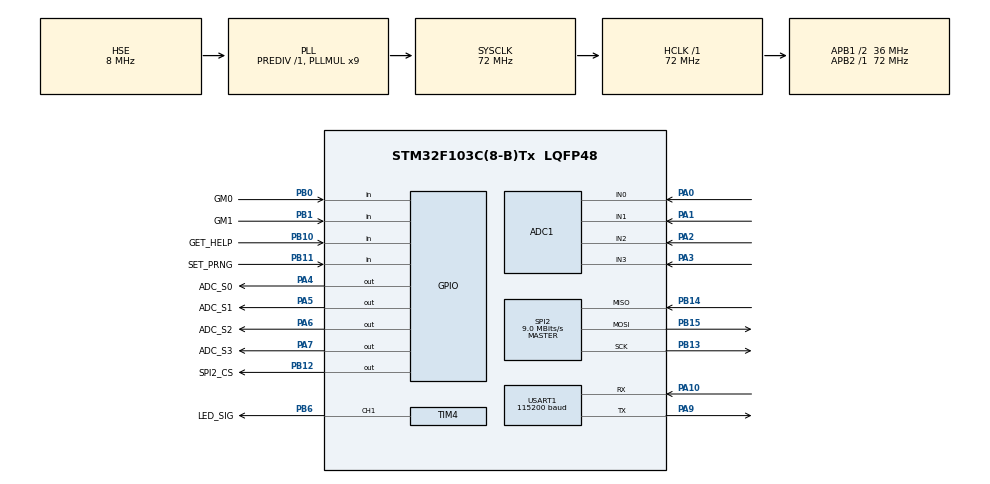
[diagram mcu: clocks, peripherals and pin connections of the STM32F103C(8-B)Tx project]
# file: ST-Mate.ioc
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ADC1.Channel-0\#ChannelRegularConversion=ADC_CHANNEL_0
ADC1.Channel-1\#ChannelRegularConversion=ADC_CHANNEL_1
ADC1.Channel-2\#ChannelRegularConversion=ADC_CHANNEL_2
ADC1.Channel-3\#ChannelRegularConversion=ADC_CHANNEL_3
ADC1.Channel-4\#ChannelRegularConversion=ADC_CHANNEL_VREFINT
ADC1.ContinuousConvMode=DISABLE
ADC1.NbrOfConversion=5
ADC1.NbrOfConversionFlag=1
ADC1.Rank-0\#ChannelRegularConversion=1
ADC1.Rank-1\#ChannelRegularConversion=2
ADC1.Rank-2\#ChannelRegularConversion=3
ADC1.Rank-3\#ChannelRegularConversion=4
ADC1.Rank-4\#ChannelRegularConversion=5
ADC1.SamplingTime-0\#ChannelRegularConversion=ADC_SAMPLETIME_239CYCLES_5
ADC1.SamplingTime-1\#ChannelRegularConversion=ADC_SAMPLETIME_239CYCLES_5
ADC1.SamplingTime-2\#ChannelRegularConversion=ADC_SAMPLETIME_239CYCLES_5
ADC1.SamplingTime-3\#ChannelRegularConversion=ADC_SAMPLETIME_239CYCLES_5
ADC1.SamplingTime-4\#ChannelRegularConversion=ADC_SAMPLETIME_239CYCLES_5
ADC1.master=1
Dma.ADC1.0.Direction=DMA_PERIPH_TO_MEMORY
Dma.ADC1.0.Instance=DMA1_Channel1
Dma.ADC1.0.MemDataAlignment=DMA_MDATAALIGN_HALFWORD
Dma.ADC1.0.MemInc=DMA_MINC_ENABLE
Dma.ADC1.0.Mode=DMA_NORMAL
Dma.ADC1.0.PeriphDataAlignment=DMA_PDATAALIGN_HALFWORD
Dma.ADC1.0.PeriphInc=DMA_PINC_DISABLE
Dma.ADC1.0.Priority=DMA_PRIORITY_LOW
Dma.Request0=ADC1
Mcu.Family=STM32F1
Mcu.Name=STM32F103C(8-B)Tx
Mcu.Package=LQFP48
NVIC.ADC1_2_IRQn=true\:15\:0\:true\:false\:true\:true\:true\:true
NVIC.DMA1_Channel1_IRQn=true\:0\:0\:false\:false\:true\:false\:true\:true
NVIC.PriorityGroup=NVIC_PRIORITYGROUP_4
NVIC.TIM4_IRQn=true\:0\:0\:false\:false\:true\:true\:true\:true
NVIC.USART1_IRQn=true\:0\:0\:false\:false\:true\:true\:true\:true
PA0-WKUP.Signal=ADCx_IN0
PA1.Signal=ADCx_IN1
PA10.Mode=Asynchronous
PA10.Signal=USART1_RX
PA13.Mode=Trace_Asynchronous_SW
PA13.Signal=SYS_JTMS-SWDIO
PA14.Mode=Trace_Asynchronous_SW
PA14.Signal=SYS_JTCK-SWCLK
PA2.Signal=ADCx_IN2
PA3.Signal=ADCx_IN3
PA4.GPIO_Label=ADC_S0
PA4.Signal=GPIO_Output
PA5.GPIO_Label=ADC_S1
PA5.Signal=GPIO_Output
PA6.GPIO_Label=ADC_S2
PA6.Signal=GPIO_Output
PA7.GPIO_Label=ADC_S3
PA7.Signal=GPIO_Output
PA9.Mode=Asynchronous
PA9.Signal=USART1_TX
PB0.GPIO_Label=GM0
PB0.GPIO_PuPd=GPIO_PULLUP
PB0.Signal=GPIO_Input
PB1.GPIO_Label=GM1
PB1.GPIO_PuPd=GPIO_PULLUP
PB1.Signal=GPIO_Input
PB10.GPIO_Label=GET_HELP
PB10.GPIO_PuPd=GPIO_PULLUP
PB10.Signal=GPIO_Input
PB11.GPIO_Label=SET_PRNG
PB11.GPIO_PuPd=GPIO_PULLUP
PB11.Signal=GPIO_Input
PB12.GPIO_Label=SPI2_CS
PB12.Signal=GPIO_Output
PB13.Mode=Full_Duplex_Master
PB13.Signal=SPI2_SCK
PB14.Mode=Full_Duplex_Master
PB14.Signal=SPI2_MISO
PB15.Mode=Full_Duplex_Master
PB15.Signal=SPI2_MOSI
PB3.Mode=Trace_Asynchronous_SW
PB3.Signal=SYS_JTDO-TRACESWO
PB6.GPIO_Label=LED_SIG
PB6.Signal=S_TIM4_CH1
PC14-OSC32_IN.Mode=LSE-External-Oscillator
PC14-OSC32_IN.Signal=RCC_OSC32_IN
PC15-OSC32_OUT.Mode=LSE-External-Oscillator
PC15-OSC32_OUT.Signal=RCC_OSC32_OUT
PD0-OSC_IN.Mode=HSE-External-Oscillator
PD0-OSC_IN.Signal=RCC_OSC_IN
PD1-OSC_OUT.Mode=HSE-External-Oscillator
PD1-OSC_OUT.Signal=RCC_OSC_OUT
ProjectManager.HeapSize=0x200
ProjectManager.StackSize=0x400
ProjectManager.TargetToolchain=STM32CubeIDE
RCC.ADCPresc=RCC_ADCPCLK2_DIV6
RCC.AHBFreq_Value=72000000
RCC.APB1CLKDivider=RCC_HCLK_DIV2
RCC.APB1Freq_Value=36000000
RCC.APB1TimFreq_Value=72000000
RCC.APB2Freq_Value=72000000
RCC.APB2TimFreq_Value=72000000
RCC.HCLKFreq_Value=72000000
RCC.PLLMUL=RCC_PLL_MUL9
RCC.PLLSourceVirtual=RCC_PLLSOURCE_HSE
RCC.RTCClockSelection=RCC_RTCCLKSOURCE_LSE
RCC.SYSCLKFreq_VALUE=72000000
RCC.SYSCLKSource=RCC_SYSCLKSOURCE_PLLCLK
RCC.USBFreq_Value=48000000
RCC.USBPrescaler=RCC_USBCLKSOURCE_PLL_DIV1_5
RTC.Date=14
RTC.Month=RTC_MONTH_MARCH
RTC.WeekDay=RTC_WEEKDAY_SATURDAY
RTC.Year=26
SH.ADCx_IN0.0=ADC1_IN0,IN0
SH.ADCx_IN1.0=ADC1_IN1,IN1
SH.ADCx_IN2.0=ADC1_IN2,IN2
SH.ADCx_IN3.0=ADC1_IN3,IN3
SH.S_TIM4_CH1.0=TIM4_CH1,PWM Generation1 CH1
SPI2.BaudRatePrescaler=SPI_BAUDRATEPRESCALER_4
SPI2.CalculateBaudRate=9.0 MBits/s
SPI2.Direction=SPI_DIRECTION_2LINES
SPI2.Mode=SPI_MODE_MASTER
SPI2.VirtualType=VM_MASTER
TIM4.Channel-PWM\ Generation1\ CH1=TIM_CHANNEL_1
USART1.BaudRate=115200
USART1.VirtualMode=VM_ASYNC
VP_ADC1_Vref_Input.Mode=IN-Vrefint
VP_RTC_VS_RTC_Activate.Mode=RTC_Enabled
VP_RTC_VS_RTC_Calendar.Mode=RTC_Calendar
VP_TIM4_VS_ClockSourceINT.Mode=Internal
board=custom

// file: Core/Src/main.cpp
/* USER CODE BEGIN Header */
/**
  ******************************************************************************
  * @file           : main.cpp
  * @brief          : Main program body
  ******************************************************************************
  * @attention
  *
  * Copyright (c) 2025 STMicroelectronics.
  * All rights reserved.
  *
  * This software is licensed under terms that can be found in the LICENSE file
  * in the root directory of this software component.
  * If no LICENSE file comes with this software, it is provided AS-IS.
  *
  ******************************************************************************
  */
/* USER CODE END Header */
#include "main.h"
#include "adc.h"
#include "dma.h"
#include "rtc.h"
#include "spi.h"
#include "tim.h"
#include "usart.h"
#include "gpio.h"
#include <stdio.h>

#include "../../Drivers/FlashDriver/FlashDriver.h"
#include "../../Drivers/DriverLED/DriverLED.h"
#include "../../Drivers/BluetoothDriver/BluetoothDriver.h"
#include "../../app/Interactor/Interactor.h"

#include "../../app/Adapters/in/Controller.h"
#include "../../app/Adapters/out/Presenter.h"

#include "../../app/Entities/ChessEngine.h"
#include "../../app/Entities/Converter.h"
#include "../../Drivers/FieldDriver/FieldDriver.h"

void SystemClock_Config(void);

/* USER CODE BEGIN 0 */
struct HardwareConfig {
    GameMode  gameMode;
    bool      prngEnabled;   // SET_PRNG_Pin == LOW
    bool      helpPressed;   // GET_HELP_Pin == LOW
};

struct RuntimeState {
    // Data
    float        cpuVoltage  = 0.0f;
    struct tm    datetime    = {};
    unsigned int seed        = 0;

    // Commands
    bool needReboot          = false;
    bool needSetTime         = true;

    // Settings that can be changed at runtime
    bool helpButtonActive    = true;
    bool helpButtonPressed   = false;  // Current state of the button
    bool diagnosticMode      = false;
};

static HardwareConfig hwCfg;
static RuntimeState   state;

// ============================================================
// Help functions
// ============================================================

void reboot()
{
	HAL_UART_Transmit(&huart1, (const uint8_t*)"ST-Mate will reboot\n", 20, 100);
	NVIC_SystemReset();
}

static HardwareConfig readHardwareConfig()
{
    HardwareConfig cfg;
    cfg.gameMode    = (GameMode)(HAL_GPIO_ReadPin(GPIOB, GM1_Pin)
                                + HAL_GPIO_ReadPin(GPIOB, GM0_Pin));
    cfg.prngEnabled = (HAL_GPIO_ReadPin(GPIOB, SET_PRNG_Pin) == GPIO_PIN_RESET);
    cfg.helpPressed = (HAL_GPIO_ReadPin(GPIOB, GET_HELP_Pin) == GPIO_PIN_RESET);
    return cfg;
}

static void printBanner(float cpuV, bool flashOk, const struct tm& dt,
                        GameMode mode, bool prng, unsigned int seed)
{
    printf("Voltage CPU: %.3f: %s\n", cpuV,
           (cpuV > 1.71f && cpuV < 3.6f) ? "OK" : "ERROR");
    printf("Flash state: %s\n", flashOk ? "OK" : "ERROR");
    printf("DateTime: %02d.%02d.%d %02d:%02d:%02d\n",
           dt.tm_mday, dt.tm_mon, dt.tm_year,
           dt.tm_hour, dt.tm_min, dt.tm_sec);
    printf("Mode: %s\n", modeStr[mode]);
    printf("RNG: %s. seed: %u\n", prng ? "ON" : "OFF", seed);
    printf("Initialization...successes\n");
    printf(logo, version);
}

// ============================================================
// Listener — разбит на методы по команде
// ============================================================

class MainListener : public Listener
{
    void handleReboot()
    {
        state.needReboot = true;
    }

    void handleVoltage()
    {
        printf("CPU Voltage: %.3f V\n", state.cpuVoltage);
    }

    void handleService(const std::string& msg)
    {
        int param = 0;
        if (sscanf(msg.c_str(), "SERVICE:%d", &param) == 1 && param >= 0 && param <= 1) {
            state.diagnosticMode = (bool)param;
            printf("Service mode is: %s\n", param ? "on" : "off");
        }
    }

    void handleSeedQuery()
    {
        printf("Seed: %u\n", state.seed);
    }

    // Seed может быть числом или строкой
    void handleSeedSet(const std::string& msg)
    {
        const char* value = msg.c_str() + 5; // skip "SEED:"
        int num = 0;
        if (sscanf(value, "%d", &num) == 1) {
            state.seed = (unsigned int)num;
            printf("Seed set: %u\n", state.seed);
            return;
        }
        // hash для строки
        unsigned long hash = 5381;
        for (const char* p = value; *p; ++p)
            hash = ((hash << 5) + hash) + (unsigned char)*p;
        state.seed = (unsigned int)hash;
        printf("Seed set: %u (from string)\n", state.seed);
    }

    void handleHintButton(const std::string& msg)
    {
        int param = 0;
        if (sscanf(msg.c_str(), "HINTBTN:%d", &param) == 1 && param >= 0 && param <= 1) {
            state.helpButtonActive = (bool)param;
            printf("Help button is: %s\n", param ? "active" : "inactive");
        }
    }

    void handleTimeQuery()
    {
        RTC_UNIT dt = rtc_GetTime();
        printf("Time: %02d.%02d.%02d %02d:%02d:%02d\n",
               dt.date, dt.month, dt.year,
               dt.hours, dt.minutes, dt.seconds);
    }

    void handleTimeSet(const std::string& msg)
    {
        int date, month, year, hours, minutes, seconds;
        const char* payload = msg.c_str() + 5; // skip "TIME:"
        if (sscanf(payload, "%2d.%2d.%2d %2d:%2d:%2d",
                   &date, &month, &year, &hours, &minutes, &seconds) == 6)
        {
            RTC_UNIT dt = {year, month, date, hours, minutes, seconds};
            rtc_SetTime(dt);
            state.needSetTime = true;
            printf("Time set: %02d.%02d.%02d %02d:%02d:%02d\n",
                   dt.date, dt.month, dt.year,
                   dt.hours, dt.minutes, dt.seconds);
        }
    }

public:
    void message(const std::string& msg) override
    {
        if (msg.find("HELP")     != std::string::npos) printf(helpText);
        if (msg.find("REBOOT")   != std::string::npos) handleReboot();
        if (msg.find("VOLT?")    != std::string::npos) handleVoltage();
        if (msg.find("SERVICE:") != std::string::npos) handleService(msg);
        if (msg.find("SEED?")    != std::string::npos) handleSeedQuery();
        if (msg.find("SEED:")    != std::string::npos) handleSeedSet(msg);
        if (msg.find("HINTBTN:") != std::string::npos) handleHintButton(msg);
        if (msg.find("TIME?")    != std::string::npos) handleTimeQuery();
        if (msg.find("TIME:")    != std::string::npos) handleTimeSet(msg);
    }
};

// ============================================================
// Main loop functions
// ============================================================

static void runDiagnosticMode(FieldDriver& fieldDriver, DriverLED& led, Fields& fields)
{
    fieldDriver.run();
    for (int i = 0; i < 64; i++) {
        switch (fields.getField(i)) {
            case Fields::white: led.setPixel(i,   0, 128,   0); break;
            case Fields::black: led.setPixel(i, 128,   0,   0); break;
            case Fields::none:  led.setPixel(i,   0,   0,   0); break;
        }
    }
    led.refresh();
}

static void runGameMode(BluetoothDriver& bluetooth,
                        FieldDriver& fieldDriver,
                        Interactor& interactor,
                        Presenter& presenter,
                        DriverLED& led)
{
    // Update values that may change at runtime
    GameMode currentMode = (GameMode)(HAL_GPIO_ReadPin(GPIOB, GM1_Pin)
                                    + HAL_GPIO_ReadPin(GPIOB, GM0_Pin));
    bool helpNow = (HAL_GPIO_ReadPin(GPIOB, GET_HELP_Pin) == GPIO_PIN_RESET)
                   && state.helpButtonActive;

    state.cpuVoltage = fieldDriver.getVRef();

    bluetooth.run();
    interactor.setSeed(state.seed);
    interactor.setMode(currentMode);
    interactor.setIsNeedHelp(helpNow);

    fieldDriver.run();
    interactor.run();
    presenter.run();
    led.refresh();
}

/* USER CODE END 0 */

int main(void)
 {

  /* MCU Configuration--------------------------------------------------------*/

  /* Reset of all peripherals, Initializes the Flash interface and the Systick. */
  HAL_Init();

  /* Configure the system clock */
  SystemClock_Config();

  /* Initialize all configured peripherals */
  MX_GPIO_Init();
  MX_DMA_Init();
  MX_TIM4_Init();
  MX_ADC1_Init();
  MX_USART1_UART_Init();
  MX_RTC_Init();
  MX_SPI2_Init();
  /* USER CODE BEGIN 2 */

  // Read hardware config (buttons, jumpers) into hwCfg struct
  hwCfg = readHardwareConfig();

  // Create main objects
  BluetoothDriver 	bluetooth;
  FlashDriver     	flash(&hspi2, SPI2_CS_GPIO_Port, SPI2_CS_Pin);
  DriverLED       	led(&flash);
  Presenter       	presenter(&led, &flash);
  Interactor     	interactor(hwCfg.gameMode, &presenter, &flash);
  Controller 		controller(&interactor);
  Fields          	fields;
  FieldDriver     	fieldDriver(fields, &controller, &flash);

  // Read initial time from RTC
  {
      RTC_UNIT dtRTC = rtc_GetTime();
      state.datetime.tm_year = dtRTC.year + 2000;
      state.datetime.tm_mon  = dtRTC.month;
      state.datetime.tm_mday = dtRTC.date;
      state.datetime.tm_hour = dtRTC.hours;
      state.datetime.tm_min  = dtRTC.minutes;
      state.datetime.tm_sec  = dtRTC.seconds;
  }

  // Define mode based on buttons
  if (hwCfg.helpPressed) {
      if (hwCfg.prngEnabled) {
          // Both HELP and SERVICE: Diagnostic mode
          state.diagnosticMode = true;
          interactor.setMode(DIAGNOSTIC);
      } else {
          // Help only: Force field calibration
          fieldDriver.setForceCalibrate();
      }
  }

  state.cpuVoltage = fieldDriver.getVRef();
  state.seed = hwCfg.prngEnabled ? fieldDriver.getSeed() : 25;
  interactor.setSeed(state.seed);

  // Subscribe to Bluetooth messages
  MainListener mainListener;
  bluetooth.attach(&mainListener);
  bluetooth.attach(&led);
  bluetooth.attach(&fieldDriver);
  bluetooth.attach(&presenter);
  bluetooth.attach(&interactor);

  printBanner(state.cpuVoltage, flash.isInit(), state.datetime,
              hwCfg.gameMode, hwCfg.prngEnabled, state.seed);
  /* USER CODE END 2 */

  /* Infinite loop */
  /* USER CODE BEGIN WHILE */
  while (1)
  {
      if (state.needSetTime) {
          interactor.setDateTime(state.datetime);
          state.needSetTime = false;
      }

      if (state.needReboot)
          reboot();

      if (state.diagnosticMode)
          runDiagnosticMode(fieldDriver, led, fields);
      else
          runGameMode(bluetooth, fieldDriver, interactor, presenter, led);
	  /* USER CODE END WHILE */

  }
}

void SystemClock_Config(void)
{
  RCC_OscInitTypeDef RCC_OscInitStruct = {0};
  RCC_ClkInitTypeDef RCC_ClkInitStruct = {0};
  RCC_PeriphCLKInitTypeDef PeriphClkInit = {0};

  /** Initializes the RCC Oscillators according to the specified parameters
  * in the RCC_OscInitTypeDef structure.
  */
  RCC_OscInitStruct.OscillatorType = RCC_OSCILLATORTYPE_HSE|RCC_OSCILLATORTYPE_LSE;
  RCC_OscInitStruct.HSEState = RCC_HSE_ON;
  RCC_OscInitStruct.HSEPredivValue = RCC_HSE_PREDIV_DIV1;
  RCC_OscInitStruct.LSEState = RCC_LSE_ON;
  RCC_OscInitStruct.HSIState = RCC_HSI_ON;
  RCC_OscInitStruct.PLL.PLLState = RCC_PLL_ON;
  RCC_OscInitStruct.PLL.PLLSource = RCC_PLLSOURCE_HSE;
  RCC_OscInitStruct.PLL.PLLMUL = RCC_PLL_MUL9;
  if (HAL_RCC_OscConfig(&RCC_OscInitStruct) != HAL_OK)
  {
    Error_Handler();
  }

  /** Initializes the CPU, AHB and APB buses clocks
  */
  RCC_ClkInitStruct.ClockType = RCC_CLOCKTYPE_HCLK|RCC_CLOCKTYPE_SYSCLK
                              |RCC_CLOCKTYPE_PCLK1|RCC_CLOCKTYPE_PCLK2;
  RCC_ClkInitStruct.SYSCLKSource = RCC_SYSCLKSOURCE_PLLCLK;
  RCC_ClkInitStruct.AHBCLKDivider = RCC_SYSCLK_DIV1;
  RCC_ClkInitStruct.APB1CLKDivider = RCC_HCLK_DIV2;
  RCC_ClkInitStruct.APB2CLKDivider = RCC_HCLK_DIV1;

  if (HAL_RCC_ClockConfig(&RCC_ClkInitStruct, FLASH_LATENCY_2) != HAL_OK)
  {
    Error_Handler();
  }
  PeriphClkInit.PeriphClockSelection = RCC_PERIPHCLK_RTC|RCC_PERIPHCLK_ADC;
  PeriphClkInit.RTCClockSelection = RCC_RTCCLKSOURCE_LSE;
  PeriphClkInit.AdcClockSelection = RCC_ADCPCLK2_DIV6;
  if (HAL_RCCEx_PeriphCLKConfig(&PeriphClkInit) != HAL_OK)
  {
    Error_Handler();
  }
}

/* USER CODE BEGIN 4 */

// ============================================================
// System function
// ============================================================
extern "C" {
int _write(int file, char *ptr, int len)
{
  (void)file;
  int DataIdx;

  HAL_UART_Transmit(&huart1, (const uint8_t*)ptr, len, 100);
  for (DataIdx = 0; DataIdx < len; DataIdx++)
  {
    ITM_SendChar(*ptr++);
  }
  return len;
}
}
/* USER CODE END 4 */

void Error_Handler(void)
{
  __disable_irq();
  while (1)
  {
  }
}
